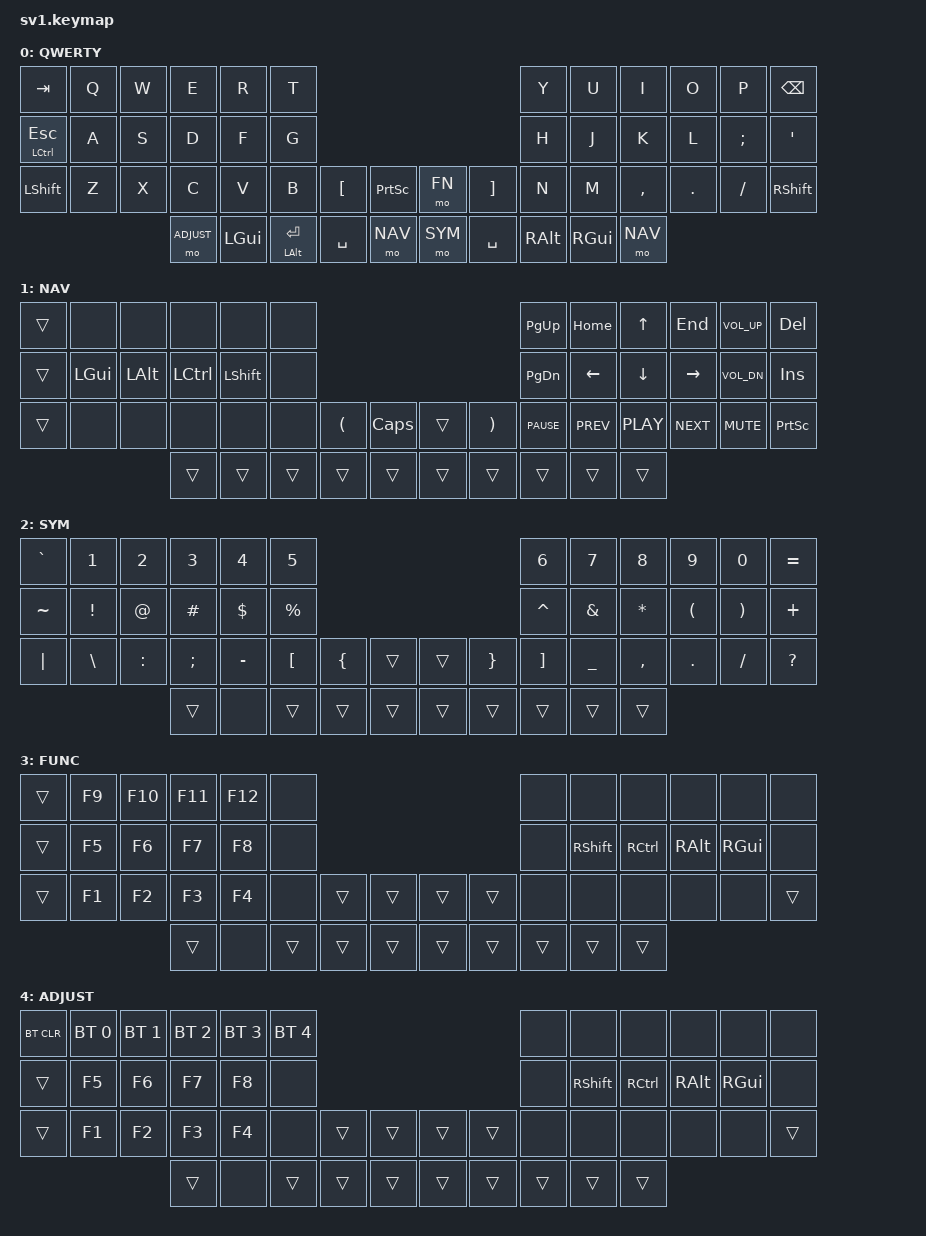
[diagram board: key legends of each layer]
/*
 * Copyright (c) 2020 The ZMK Contributors
 *
 * SPDX-License-Identifier: MIT
 */

#include <behaviors.dtsi>
#include <dt-bindings/zmk/keys.h>
#include <dt-bindings/zmk/bt.h>

#define DEFAULT 0
#define NAV     1
#define SYM     2
#define FN      3
#define ADJUST  4

&left_encoder {
    status = "disabled";
};

&right_encoder {
    status = "disabled";
};

/ {
	keymap {
		compatible = "zmk,keymap";

		default_layer {
			label = " QWERTY";
			bindings = <
// +----------+----------+----------+----------+----------+----------+                                                 +----------+----------+----------+----------+----------+----------+
// |          |          |          |          |          |          |                                                 |          |          |          |          |          |          |
   &kp TAB    &kp Q      &kp W      &kp E      &kp R      &kp T                                                        &kp Y      &kp U      &kp I      &kp O      &kp P      &kp BSPC
   &mt LCTL ESC &kp A    &kp S      &kp D      &kp F      &kp G                                                        &kp H      &kp J      &kp K      &kp L      &kp SEMI   &kp SQT
   &kp LSHFT  &kp Z      &kp X      &kp C      &kp V      &kp B      &kp LBKT   &kp PSCRN        &mo FN     &kp RBKT   &kp N      &kp M      &kp COMMA  &kp DOT    &kp FSLH   &kp RSHFT
// +----------+----------+----------+----------+----------+----------+----------+----------+     +----------+----------+----------+----------+----------+----------+----------+----------+
	                                &mo ADJUST  &kp LGUI  &mt LALT RET &kp SPC  &mo NAV          &mo SYM    &kp SPC    &kp RALT   &kp RGUI   &mo NAV
//                                  |          |          |          |          |          |     |          |          |          |          |          |
//                                  +----------+----------+----------+----------+----------+     +----------+----------+----------+----------+----------+
			>;
		};
		nav_layer {
			label = " NAV";
			bindings = <
// +----------+----------+----------+----------+----------+----------+                                                 +----------+----------+----------+----------+----------+----------+
// |          |          |          |          |          |          |                                                 |          |          |          |          |          |          |
   &trans     &none      &none      &none      &none      &none                                                        &kp PG_UP  &kp HOME   &kp UP     &kp END   &kp C_VOL_UP &kp DEL
   &trans     &kp LGUI   &kp LALT   &kp LCTL   &kp LSHFT  &none                                                        &kp PG_DN  &kp LEFT   &kp DOWN   &kp RIGHT &kp C_VOL_DN &kp INS
   &trans     &none      &none      &none      &none      &none      &kp LPAR   &kp CAPS         &trans     &kp RPAR   &kp C_PAUSE &kp C_PREV &kp C_PLAY &kp C_NEXT &kp C_MUTE &kp PSCRN
// +----------+----------+----------+----------+----------+----------+----------+----------+     +----------+----------+----------+----------+----------+----------+----------+----------+
                                    &trans     &trans     &trans     &trans     &trans           &trans     &trans     &trans     &trans     &trans
//                                  |          |          |          |          |          |     |          |          |          |          |          |
//                                  +----------+----------+----------+----------+----------+     +----------+----------+----------+----------+----------+
			>;
		};
		sym_layer {
			label = " SYM";
			bindings = <
// +----------+----------+----------+----------+----------+----------+                                                 +----------+----------+----------+----------+----------+----------+
// |          |          |          |          |          |          |                                                 |          |          |          |          |          |          |
   &kp GRAVE  &kp N1     &kp N2     &kp N3     &kp N4     &kp N5                                                       &kp N6     &kp N7     &kp N8     &kp N9     &kp N0     &kp EQUAL
   &kp TILDE  &kp EXCL   &kp AT     &kp HASH   &kp DOLLAR &kp PERCENT                                                  &kp CARET  &kp AMPS   &kp STAR   &kp LPAR   &kp RPAR   &kp PLUS
   &kp PIPE   &kp BSLH   &kp COLON  &kp SEMI   &kp MINUS  &kp LBKT   &kp LBRC   &trans           &trans     &kp RBRC   &kp RBKT   &kp UNDER  &kp COMMA  &kp DOT    &kp SLASH  &kp QMARK
// +----------+----------+----------+----------+----------+----------+----------+----------+     +----------+----------+----------+----------+----------+----------+----------+----------+
                                    &trans     &none      &trans     &trans     &trans           &trans     &trans     &trans     &trans     &trans
//                                  |          |          |          |          |          |     |          |          |          |          |          |
//                                  +----------+----------+----------+----------+----------+     +----------+----------+----------+----------+----------+
			>;
		};
		fnl_layer {
			label = " FUNC";
			bindings = <
// +----------+----------+----------+----------+----------+----------+                                                 +----------+----------+----------+----------+----------+----------+
// |          |          |          |          |          |          |                                                 |          |          |          |          |          |          |
   &trans     &kp F9     &kp F10    &kp F11    &kp F12    &none                                                        &none      &none      &none      &none      &none      &none
   &trans     &kp F5     &kp F6     &kp F7     &kp F8     &none                                                        &none      &kp RSHFT  &kp RCTL   &kp RALT   &kp RGUI   &none
   &trans     &kp F1     &kp F2     &kp F3     &kp F4     &none      &trans     &trans           &trans     &trans     &none      &none      &none      &none      &none      &trans
// +----------+----------+----------+----------+----------+----------+----------+----------+     +----------+----------+----------+----------+----------+----------+----------+----------+
                                    &trans     &none      &trans     &trans     &trans           &trans     &trans     &trans     &trans     &trans
//                                  |          |          |          |          |          |     |          |          |          |          |          |
//                                  +----------+----------+----------+----------+----------+     +----------+----------+----------+----------+----------+
			>;
		};
		adjust_layer {
        			label = " ADJUST";
        			bindings = <
        // +----------+----------+----------+----------+----------+----------+                                                 +----------+----------+----------+----------+----------+----------+
        // |          |          |          |          |          |          |                                                 |          |          |          |          |          |          |
           &bt BT_CLR &bt BT_SEL 0 &bt BT_SEL 1 &bt BT_SEL 2 &bt BT_SEL 3 &bt BT_SEL 4                                                        &none      &none      &none      &none      &none      &none
           &trans     &kp F5     &kp F6     &kp F7     &kp F8     &none                                                        &none      &kp RSHFT  &kp RCTL   &kp RALT   &kp RGUI   &none
           &trans     &kp F1     &kp F2     &kp F3     &kp F4     &none      &trans     &trans           &trans     &trans     &none      &none      &none      &none      &none      &trans
        // +----------+----------+----------+----------+----------+----------+----------+----------+     +----------+----------+----------+----------+----------+----------+----------+----------+
                                            &trans     &none      &trans     &trans     &trans           &trans     &trans     &trans     &trans     &trans
        //                                  |          |          |          |          |          |     |          |          |          |          |          |
        //                                  +----------+----------+----------+----------+----------+     +----------+----------+----------+----------+----------+
        			>;
        		};
	};
};
